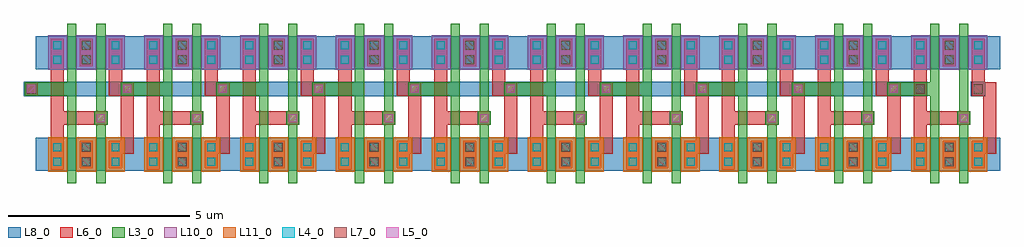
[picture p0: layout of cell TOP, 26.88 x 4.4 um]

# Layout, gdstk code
import gdstk
lib = gdstk.Library(unit=1e-6, precision=1e-09)
def R(c, l, rs):  # rectangles x0, y0, x1, y1
    for r in rs: c.add(gdstk.rectangle(r[:2], r[2:], *l))
def P(c, l, *ps):  # polygons
    for p in ps: c.add(gdstk.Polygon(p, *l))
L3_0 = (3, 0)
L4_0 = (4, 0)
L5_0 = (5, 0)
L6_0 = (6, 0)
L7_0 = (7, 0)
L8_0 = (8, 0)
L10_0 = (10, 0)
L11_0 = (11, 0)

trans = lib.new_cell('TRANS')

d_pmos = lib.new_cell('D$PMOS')

d_pmos_1 = lib.new_cell('D$PMOS$1')

d_nmos = lib.new_cell('D$NMOS')

d_nmos_1 = lib.new_cell('D$NMOS$1')

inv2 = lib.new_cell('INV2')
inv2.add(gdstk.Reference(trans, (-0.4,0)))
inv2.add(gdstk.Reference(trans, (-0.4,2.8)))
inv2.add(gdstk.Reference(trans, (0.4,0), x_reflection=True))
inv2.add(gdstk.Reference(trans, (0.4,2.8), x_reflection=True))
inv2.add(gdstk.Reference(d_pmos, (-0.4,2.8)))
inv2.add(gdstk.Reference(d_pmos_1, (0.4,2.8)))
inv2.add(gdstk.Reference(d_nmos, (-0.4,0)))
inv2.add(gdstk.Reference(d_nmos_1, (0.4,0)))

circuit_trans = lib.new_cell('CIRCUIT_TRANS')
R(circuit_trans, L3_0, [(-0.125,-0.8,0.125,0.8)])

circuit_trans_1 = lib.new_cell('CIRCUIT_TRANS$1')
R(circuit_trans_1, L4_0, [(-0.51,-0.31,-0.29,-0.09), (-0.51,0.09,-0.29,0.31)])
R(circuit_trans_1, L6_0, [(-0.58,-0.38,-0.22,0.38)])

circuit_inv2 = lib.new_cell('CIRCUIT_INV2')
R(circuit_inv2, L3_0, [(0.275,-0.25,0.525,2.25), (0.22,0.82,0.58,1.18)])
R(circuit_inv2, L5_0, [(0.29,0.89,0.51,1.11)])
R(circuit_inv2, L6_0, [(-0.98,-0.42,-0.62,2.42), (-0.8,0.82,0.58,1.18)])
R(circuit_inv2, L10_0, [(-1.05,2.325,-0.525,3.275)])
R(circuit_inv2, L11_0, [(-1.05,-0.475,-0.525,0.475)])
circuit_inv2.add(gdstk.Reference(circuit_trans, (0.4,2.8), x_reflection=True))
circuit_inv2.add(gdstk.Reference(circuit_trans, (0.4,0), x_reflection=True))
circuit_inv2.add(gdstk.Reference(circuit_trans_1, (-0.4,2.8)))
circuit_inv2.add(gdstk.Reference(circuit_trans_1, (-0.4,0)))

circuit_inv2_1 = lib.new_cell('CIRCUIT_INV2$1')
R(circuit_inv2_1, L3_0, [(-0.525,-0.25,-0.275,2.25), (-1.7,1.62,-0.4,1.98)])
R(circuit_inv2_1, L5_0, [(-1.63,1.69,-1.41,1.91)])
circuit_inv2_1.add(gdstk.Reference(circuit_trans, (-0.4,0)))
circuit_inv2_1.add(gdstk.Reference(circuit_trans, (-0.4,2.8)))

circuit_trans_2 = lib.new_cell('CIRCUIT_TRANS$2')
R(circuit_trans_2, L4_0, [(0.29,-0.31,0.51,-0.09), (0.29,0.09,0.51,0.31)])
R(circuit_trans_2, L6_0, [(0.22,-0.38,0.58,0.38)])

circuit_inv2_2 = lib.new_cell('CIRCUIT_INV2$2')
P(circuit_inv2_2, L6_0, [(0.8,0.02),(0.8,0.38),(0.94,0.38),(0.94,1.62),(0.62,1.62),(0.62,2.42),(0.98,2.42),(0.98,1.98),(1.3,1.98),(1.3,0.02)])
R(circuit_inv2_2, L10_0, [(0.525,2.325,1.05,3.275)])
R(circuit_inv2_2, L11_0, [(0.525,-0.475,1.05,0.475)])
circuit_inv2_2.add(gdstk.Reference(circuit_trans_2, (0.4,2.8), x_reflection=True))
circuit_inv2_2.add(gdstk.Reference(circuit_trans_2, (0.4,0), x_reflection=True))

circuit_trans_3 = lib.new_cell('CIRCUIT_TRANS$3')
R(circuit_trans_3, L4_0, [(0.29,-0.31,0.51,-0.09), (0.29,0.09,0.51,0.31)])
R(circuit_trans_3, L6_0, [(0.22,-0.38,0.58,0.38)])

circuit_trans_4 = lib.new_cell('CIRCUIT_TRANS$4')
R(circuit_trans_4, L4_0, [(-0.51,-0.31,-0.29,-0.09), (-0.51,0.09,-0.29,0.31)])
R(circuit_trans_4, L6_0, [(-0.58,-0.38,-0.22,0.38)])

circuit_inv2_3 = lib.new_cell('CIRCUIT_INV2$3')
R(circuit_inv2_3, L7_0, [(-0.125,-0.325,0.125,-0.075), (-0.125,0.075,0.125,0.325)])
R(circuit_inv2_3, L8_0, [(-1.4,-0.45,1.4,0.45)])
R(circuit_inv2_3, L11_0, [(-0.275,-0.475,0.275,0.475)])
circuit_inv2_3.add(gdstk.Reference(circuit_trans_3, (-0.4,0)))
circuit_inv2_3.add(gdstk.Reference(circuit_trans_4, (0.4,0), x_reflection=True))

circuit_trans_5 = lib.new_cell('CIRCUIT_TRANS$5')
R(circuit_trans_5, L4_0, [(-0.51,-0.31,-0.29,-0.09), (-0.51,0.09,-0.29,0.31)])
R(circuit_trans_5, L6_0, [(-0.58,-0.38,-0.22,0.38)])

circuit_trans_6 = lib.new_cell('CIRCUIT_TRANS$6')
R(circuit_trans_6, L4_0, [(0.29,-0.31,0.51,-0.09), (0.29,0.09,0.51,0.31)])
R(circuit_trans_6, L6_0, [(0.22,-0.38,0.58,0.38)])

circuit_inv2_4 = lib.new_cell('CIRCUIT_INV2$4')
R(circuit_inv2_4, L7_0, [(-0.125,2.475,0.125,2.725), (-0.125,2.875,0.125,3.125)])
R(circuit_inv2_4, L8_0, [(-1.4,2.35,1.4,3.25)])
R(circuit_inv2_4, L10_0, [(-0.275,2.325,0.275,3.275)])
circuit_inv2_4.add(gdstk.Reference(circuit_trans_5, (0.4,2.8), x_reflection=True))
circuit_inv2_4.add(gdstk.Reference(circuit_trans_6, (-0.4,2.8)))

circuit_trans_7 = lib.new_cell('CIRCUIT_TRANS$7')
R(circuit_trans_7, L3_0, [(-0.125,-0.8,0.125,0.8)])

circuit_trans_8 = lib.new_cell('CIRCUIT_TRANS$8')
R(circuit_trans_8, L4_0, [(-0.51,-0.31,-0.29,-0.09), (-0.51,0.09,-0.29,0.31)])
R(circuit_trans_8, L6_0, [(-0.58,-0.38,-0.22,0.38)])

circuit_inv2_5 = lib.new_cell('CIRCUIT_INV2$5')
R(circuit_inv2_5, L3_0, [(0.275,-0.25,0.525,2.25), (0.22,0.82,0.58,1.18)])
R(circuit_inv2_5, L5_0, [(0.29,0.89,0.51,1.11)])
R(circuit_inv2_5, L6_0, [(-0.98,-0.42,-0.62,2.42), (-0.8,0.82,0.58,1.18)])
R(circuit_inv2_5, L10_0, [(-1.05,2.325,-0.525,3.275)])
R(circuit_inv2_5, L11_0, [(-1.05,-0.475,-0.525,0.475)])
circuit_inv2_5.add(gdstk.Reference(circuit_trans_7, (0.4,2.8), x_reflection=True))
circuit_inv2_5.add(gdstk.Reference(circuit_trans_7, (0.4,0), x_reflection=True))
circuit_inv2_5.add(gdstk.Reference(circuit_trans_8, (-0.4,2.8)))
circuit_inv2_5.add(gdstk.Reference(circuit_trans_8, (-0.4,0)))

circuit_trans_9 = lib.new_cell('CIRCUIT_TRANS$9')
R(circuit_trans_9, L3_0, [(-0.125,-0.8,0.125,0.8)])

circuit_trans_10 = lib.new_cell('CIRCUIT_TRANS$10')
R(circuit_trans_10, L4_0, [(-0.51,-0.31,-0.29,-0.09), (-0.51,0.09,-0.29,0.31)])
R(circuit_trans_10, L6_0, [(-0.58,-0.38,-0.22,0.38)])

circuit_inv2_6 = lib.new_cell('CIRCUIT_INV2$6')
R(circuit_inv2_6, L3_0, [(0.275,-0.25,0.525,2.25), (0.22,0.82,0.58,1.18)])
R(circuit_inv2_6, L5_0, [(0.29,0.89,0.51,1.11)])
R(circuit_inv2_6, L6_0, [(-0.98,-0.42,-0.62,2.42), (-0.8,0.82,0.58,1.18)])
R(circuit_inv2_6, L10_0, [(-1.05,2.325,-0.525,3.275)])
R(circuit_inv2_6, L11_0, [(-1.05,-0.475,-0.525,0.475)])
circuit_inv2_6.add(gdstk.Reference(circuit_trans_9, (0.4,2.8), x_reflection=True))
circuit_inv2_6.add(gdstk.Reference(circuit_trans_9, (0.4,0), x_reflection=True))
circuit_inv2_6.add(gdstk.Reference(circuit_trans_10, (-0.4,2.8)))
circuit_inv2_6.add(gdstk.Reference(circuit_trans_10, (-0.4,0)))

circuit_trans_11 = lib.new_cell('CIRCUIT_TRANS$11')
R(circuit_trans_11, L3_0, [(-0.125,-0.8,0.125,0.8)])

circuit_trans_12 = lib.new_cell('CIRCUIT_TRANS$12')
R(circuit_trans_12, L4_0, [(-0.51,-0.31,-0.29,-0.09), (-0.51,0.09,-0.29,0.31)])
R(circuit_trans_12, L6_0, [(-0.58,-0.38,-0.22,0.38)])

circuit_inv2_7 = lib.new_cell('CIRCUIT_INV2$7')
R(circuit_inv2_7, L3_0, [(0.275,-0.25,0.525,2.25), (0.22,0.82,0.58,1.18)])
R(circuit_inv2_7, L5_0, [(0.29,0.89,0.51,1.11)])
R(circuit_inv2_7, L6_0, [(-0.98,-0.42,-0.62,2.42), (-0.8,0.82,0.58,1.18)])
R(circuit_inv2_7, L10_0, [(-1.05,2.325,-0.525,3.275)])
R(circuit_inv2_7, L11_0, [(-1.05,-0.475,-0.525,0.475)])
circuit_inv2_7.add(gdstk.Reference(circuit_trans_11, (0.4,2.8), x_reflection=True))
circuit_inv2_7.add(gdstk.Reference(circuit_trans_11, (0.4,0), x_reflection=True))
circuit_inv2_7.add(gdstk.Reference(circuit_trans_12, (-0.4,2.8)))
circuit_inv2_7.add(gdstk.Reference(circuit_trans_12, (-0.4,0)))

circuit_trans_13 = lib.new_cell('CIRCUIT_TRANS$13')
R(circuit_trans_13, L3_0, [(-0.125,-0.8,0.125,0.8)])

circuit_trans_14 = lib.new_cell('CIRCUIT_TRANS$14')
R(circuit_trans_14, L4_0, [(-0.51,-0.31,-0.29,-0.09), (-0.51,0.09,-0.29,0.31)])
R(circuit_trans_14, L6_0, [(-0.58,-0.38,-0.22,0.38)])

circuit_inv2_8 = lib.new_cell('CIRCUIT_INV2$8')
R(circuit_inv2_8, L3_0, [(0.275,-0.25,0.525,2.25), (0.22,0.82,0.58,1.18)])
R(circuit_inv2_8, L5_0, [(0.29,0.89,0.51,1.11)])
R(circuit_inv2_8, L6_0, [(-0.98,-0.42,-0.62,2.42), (-0.8,0.82,0.58,1.18)])
R(circuit_inv2_8, L10_0, [(-1.05,2.325,-0.525,3.275)])
R(circuit_inv2_8, L11_0, [(-1.05,-0.475,-0.525,0.475)])
circuit_inv2_8.add(gdstk.Reference(circuit_trans_13, (0.4,2.8), x_reflection=True))
circuit_inv2_8.add(gdstk.Reference(circuit_trans_13, (0.4,0), x_reflection=True))
circuit_inv2_8.add(gdstk.Reference(circuit_trans_14, (-0.4,2.8)))
circuit_inv2_8.add(gdstk.Reference(circuit_trans_14, (-0.4,0)))

circuit_trans_15 = lib.new_cell('CIRCUIT_TRANS$15')
R(circuit_trans_15, L3_0, [(-0.125,-0.8,0.125,0.8)])

circuit_trans_16 = lib.new_cell('CIRCUIT_TRANS$16')
R(circuit_trans_16, L4_0, [(-0.51,-0.31,-0.29,-0.09), (-0.51,0.09,-0.29,0.31)])
R(circuit_trans_16, L6_0, [(-0.58,-0.38,-0.22,0.38)])

circuit_inv2_9 = lib.new_cell('CIRCUIT_INV2$9')
R(circuit_inv2_9, L3_0, [(0.275,-0.25,0.525,2.25), (0.22,0.82,0.58,1.18)])
R(circuit_inv2_9, L5_0, [(0.29,0.89,0.51,1.11)])
R(circuit_inv2_9, L6_0, [(-0.98,-0.42,-0.62,2.42), (-0.8,0.82,0.58,1.18)])
R(circuit_inv2_9, L10_0, [(-1.05,2.325,-0.525,3.275)])
R(circuit_inv2_9, L11_0, [(-1.05,-0.475,-0.525,0.475)])
circuit_inv2_9.add(gdstk.Reference(circuit_trans_15, (0.4,2.8), x_reflection=True))
circuit_inv2_9.add(gdstk.Reference(circuit_trans_15, (0.4,0), x_reflection=True))
circuit_inv2_9.add(gdstk.Reference(circuit_trans_16, (-0.4,2.8)))
circuit_inv2_9.add(gdstk.Reference(circuit_trans_16, (-0.4,0)))

circuit_trans_17 = lib.new_cell('CIRCUIT_TRANS$17')
R(circuit_trans_17, L3_0, [(-0.125,-0.8,0.125,0.8)])

circuit_trans_18 = lib.new_cell('CIRCUIT_TRANS$18')
R(circuit_trans_18, L4_0, [(-0.51,-0.31,-0.29,-0.09), (-0.51,0.09,-0.29,0.31)])
R(circuit_trans_18, L6_0, [(-0.58,-0.38,-0.22,0.38)])

circuit_inv2_10 = lib.new_cell('CIRCUIT_INV2$10')
R(circuit_inv2_10, L3_0, [(0.275,-0.25,0.525,2.25), (0.22,0.82,0.58,1.18)])
R(circuit_inv2_10, L5_0, [(0.29,0.89,0.51,1.11)])
R(circuit_inv2_10, L6_0, [(-0.98,-0.42,-0.62,2.42), (-0.8,0.82,0.58,1.18)])
R(circuit_inv2_10, L10_0, [(-1.05,2.325,-0.525,3.275)])
R(circuit_inv2_10, L11_0, [(-1.05,-0.475,-0.525,0.475)])
circuit_inv2_10.add(gdstk.Reference(circuit_trans_17, (0.4,2.8), x_reflection=True))
circuit_inv2_10.add(gdstk.Reference(circuit_trans_17, (0.4,0), x_reflection=True))
circuit_inv2_10.add(gdstk.Reference(circuit_trans_18, (-0.4,2.8)))
circuit_inv2_10.add(gdstk.Reference(circuit_trans_18, (-0.4,0)))

circuit_trans_19 = lib.new_cell('CIRCUIT_TRANS$19')
R(circuit_trans_19, L3_0, [(-0.125,-0.8,0.125,0.8)])

circuit_trans_20 = lib.new_cell('CIRCUIT_TRANS$20')
R(circuit_trans_20, L4_0, [(-0.51,-0.31,-0.29,-0.09), (-0.51,0.09,-0.29,0.31)])
R(circuit_trans_20, L6_0, [(-0.58,-0.38,-0.22,0.38)])

circuit_inv2_11 = lib.new_cell('CIRCUIT_INV2$11')
R(circuit_inv2_11, L3_0, [(0.275,-0.25,0.525,2.25), (0.22,0.82,0.58,1.18)])
R(circuit_inv2_11, L5_0, [(0.29,0.89,0.51,1.11)])
R(circuit_inv2_11, L6_0, [(-0.98,-0.42,-0.62,2.42), (-0.8,0.82,0.58,1.18)])
R(circuit_inv2_11, L10_0, [(-1.05,2.325,-0.525,3.275)])
R(circuit_inv2_11, L11_0, [(-1.05,-0.475,-0.525,0.475)])
circuit_inv2_11.add(gdstk.Reference(circuit_trans_19, (0.4,2.8), x_reflection=True))
circuit_inv2_11.add(gdstk.Reference(circuit_trans_19, (0.4,0), x_reflection=True))
circuit_inv2_11.add(gdstk.Reference(circuit_trans_20, (-0.4,2.8)))
circuit_inv2_11.add(gdstk.Reference(circuit_trans_20, (-0.4,0)))

circuit_trans_21 = lib.new_cell('CIRCUIT_TRANS$21')
R(circuit_trans_21, L3_0, [(-0.125,-0.8,0.125,0.8)])

circuit_trans_22 = lib.new_cell('CIRCUIT_TRANS$22')
R(circuit_trans_22, L4_0, [(-0.51,-0.31,-0.29,-0.09), (-0.51,0.09,-0.29,0.31)])
R(circuit_trans_22, L6_0, [(-0.58,-0.38,-0.22,0.38)])

circuit_inv2_12 = lib.new_cell('CIRCUIT_INV2$12')
R(circuit_inv2_12, L3_0, [(0.275,-0.25,0.525,2.25), (0.22,0.82,0.58,1.18)])
R(circuit_inv2_12, L5_0, [(0.29,0.89,0.51,1.11)])
R(circuit_inv2_12, L6_0, [(-0.98,-0.42,-0.62,2.42), (-0.8,0.82,0.58,1.18)])
R(circuit_inv2_12, L10_0, [(-1.05,2.325,-0.525,3.275)])
R(circuit_inv2_12, L11_0, [(-1.05,-0.475,-0.525,0.475)])
circuit_inv2_12.add(gdstk.Reference(circuit_trans_21, (0.4,2.8), x_reflection=True))
circuit_inv2_12.add(gdstk.Reference(circuit_trans_21, (0.4,0), x_reflection=True))
circuit_inv2_12.add(gdstk.Reference(circuit_trans_22, (-0.4,2.8)))
circuit_inv2_12.add(gdstk.Reference(circuit_trans_22, (-0.4,0)))

circuit_trans_23 = lib.new_cell('CIRCUIT_TRANS$23')
R(circuit_trans_23, L3_0, [(-0.125,-0.8,0.125,0.8)])

circuit_trans_24 = lib.new_cell('CIRCUIT_TRANS$24')
R(circuit_trans_24, L4_0, [(-0.51,-0.31,-0.29,-0.09), (-0.51,0.09,-0.29,0.31)])
R(circuit_trans_24, L6_0, [(-0.58,-0.38,-0.22,0.38)])

circuit_inv2_13 = lib.new_cell('CIRCUIT_INV2$13')
R(circuit_inv2_13, L3_0, [(0.275,-0.25,0.525,2.25), (0.22,0.82,0.58,1.18)])
R(circuit_inv2_13, L5_0, [(0.29,0.89,0.51,1.11)])
R(circuit_inv2_13, L6_0, [(-0.98,-0.42,-0.62,2.42), (-0.8,0.82,0.58,1.18)])
R(circuit_inv2_13, L10_0, [(-1.05,2.325,-0.525,3.275)])
R(circuit_inv2_13, L11_0, [(-1.05,-0.475,-0.525,0.475)])
circuit_inv2_13.add(gdstk.Reference(circuit_trans_23, (0.4,2.8), x_reflection=True))
circuit_inv2_13.add(gdstk.Reference(circuit_trans_23, (0.4,0), x_reflection=True))
circuit_inv2_13.add(gdstk.Reference(circuit_trans_24, (-0.4,2.8)))
circuit_inv2_13.add(gdstk.Reference(circuit_trans_24, (-0.4,0)))

circuit_trans_25 = lib.new_cell('CIRCUIT_TRANS$25')
R(circuit_trans_25, L4_0, [(0.29,-0.31,0.51,-0.09), (0.29,0.09,0.51,0.31)])
R(circuit_trans_25, L6_0, [(0.22,-0.38,0.58,0.38)])

circuit_inv2_14 = lib.new_cell('CIRCUIT_INV2$14')
P(circuit_inv2_14, L6_0, [(0.8,0.02),(0.8,0.38),(0.94,0.38),(0.94,1.62),(0.62,1.62),(0.62,2.42),(0.98,2.42),(0.98,1.98),(1.3,1.98),(1.3,0.02)])
R(circuit_inv2_14, L10_0, [(0.525,2.325,1.05,3.275)])
R(circuit_inv2_14, L11_0, [(0.525,-0.475,1.05,0.475)])
circuit_inv2_14.add(gdstk.Reference(circuit_trans_25, (0.4,2.8), x_reflection=True))
circuit_inv2_14.add(gdstk.Reference(circuit_trans_25, (0.4,0), x_reflection=True))

circuit_trans_26 = lib.new_cell('CIRCUIT_TRANS$26')
R(circuit_trans_26, L3_0, [(-0.125,-0.8,0.125,0.8)])

circuit_inv2_15 = lib.new_cell('CIRCUIT_INV2$15')
R(circuit_inv2_15, L3_0, [(-0.525,-0.25,-0.275,2.25), (-1.7,1.62,-0.4,1.98)])
R(circuit_inv2_15, L5_0, [(-1.63,1.69,-1.41,1.91)])
circuit_inv2_15.add(gdstk.Reference(circuit_trans_26, (-0.4,0)))
circuit_inv2_15.add(gdstk.Reference(circuit_trans_26, (-0.4,2.8)))

circuit_trans_27 = lib.new_cell('CIRCUIT_TRANS$27')
R(circuit_trans_27, L3_0, [(-0.125,-0.8,0.125,0.8)])

circuit_inv2_16 = lib.new_cell('CIRCUIT_INV2$16')
R(circuit_inv2_16, L3_0, [(-0.525,-0.25,-0.275,2.25), (-1.7,1.62,-0.4,1.98)])
R(circuit_inv2_16, L5_0, [(-1.63,1.69,-1.41,1.91)])
circuit_inv2_16.add(gdstk.Reference(circuit_trans_27, (-0.4,0)))
circuit_inv2_16.add(gdstk.Reference(circuit_trans_27, (-0.4,2.8)))

circuit_trans_28 = lib.new_cell('CIRCUIT_TRANS$28')
R(circuit_trans_28, L4_0, [(0.29,-0.31,0.51,-0.09), (0.29,0.09,0.51,0.31)])
R(circuit_trans_28, L6_0, [(0.22,-0.38,0.58,0.38)])

circuit_inv2_17 = lib.new_cell('CIRCUIT_INV2$17')
P(circuit_inv2_17, L6_0, [(0.8,0.02),(0.8,0.38),(0.94,0.38),(0.94,1.62),(0.62,1.62),(0.62,2.42),(0.98,2.42),(0.98,1.98),(1.3,1.98),(1.3,0.02)])
R(circuit_inv2_17, L10_0, [(0.525,2.325,1.05,3.275)])
R(circuit_inv2_17, L11_0, [(0.525,-0.475,1.05,0.475)])
circuit_inv2_17.add(gdstk.Reference(circuit_trans_28, (0.4,2.8), x_reflection=True))
circuit_inv2_17.add(gdstk.Reference(circuit_trans_28, (0.4,0), x_reflection=True))

circuit_trans_29 = lib.new_cell('CIRCUIT_TRANS$29')
R(circuit_trans_29, L3_0, [(-0.125,-0.8,0.125,0.8)])

circuit_inv2_18 = lib.new_cell('CIRCUIT_INV2$18')
R(circuit_inv2_18, L3_0, [(-0.525,-0.25,-0.275,2.25), (-1.7,1.62,-0.4,1.98)])
R(circuit_inv2_18, L5_0, [(-1.63,1.69,-1.41,1.91)])
circuit_inv2_18.add(gdstk.Reference(circuit_trans_29, (-0.4,0)))
circuit_inv2_18.add(gdstk.Reference(circuit_trans_29, (-0.4,2.8)))

circuit_trans_30 = lib.new_cell('CIRCUIT_TRANS$30')
R(circuit_trans_30, L4_0, [(0.29,-0.31,0.51,-0.09), (0.29,0.09,0.51,0.31)])
R(circuit_trans_30, L6_0, [(0.22,-0.38,0.58,0.38)])

circuit_inv2_19 = lib.new_cell('CIRCUIT_INV2$19')
P(circuit_inv2_19, L6_0, [(0.8,0.02),(0.8,0.38),(0.94,0.38),(0.94,1.62),(0.62,1.62),(0.62,2.42),(0.98,2.42),(0.98,1.98),(1.3,1.98),(1.3,0.02)])
R(circuit_inv2_19, L10_0, [(0.525,2.325,1.05,3.275)])
R(circuit_inv2_19, L11_0, [(0.525,-0.475,1.05,0.475)])
circuit_inv2_19.add(gdstk.Reference(circuit_trans_30, (0.4,2.8), x_reflection=True))
circuit_inv2_19.add(gdstk.Reference(circuit_trans_30, (0.4,0), x_reflection=True))

circuit_trans_31 = lib.new_cell('CIRCUIT_TRANS$31')
R(circuit_trans_31, L3_0, [(-0.125,-0.8,0.125,0.8)])

circuit_inv2_20 = lib.new_cell('CIRCUIT_INV2$20')
R(circuit_inv2_20, L3_0, [(-0.525,-0.25,-0.275,2.25), (-1.7,1.62,-0.4,1.98)])
R(circuit_inv2_20, L5_0, [(-1.63,1.69,-1.41,1.91)])
circuit_inv2_20.add(gdstk.Reference(circuit_trans_31, (-0.4,0)))
circuit_inv2_20.add(gdstk.Reference(circuit_trans_31, (-0.4,2.8)))

circuit_trans_32 = lib.new_cell('CIRCUIT_TRANS$32')
R(circuit_trans_32, L4_0, [(0.29,-0.31,0.51,-0.09), (0.29,0.09,0.51,0.31)])
R(circuit_trans_32, L6_0, [(0.22,-0.38,0.58,0.38)])

circuit_inv2_21 = lib.new_cell('CIRCUIT_INV2$21')
P(circuit_inv2_21, L6_0, [(0.8,0.02),(0.8,0.38),(0.94,0.38),(0.94,1.62),(0.62,1.62),(0.62,2.42),(0.98,2.42),(0.98,1.98),(1.3,1.98),(1.3,0.02)])
R(circuit_inv2_21, L10_0, [(0.525,2.325,1.05,3.275)])
R(circuit_inv2_21, L11_0, [(0.525,-0.475,1.05,0.475)])
circuit_inv2_21.add(gdstk.Reference(circuit_trans_32, (0.4,2.8), x_reflection=True))
circuit_inv2_21.add(gdstk.Reference(circuit_trans_32, (0.4,0), x_reflection=True))

circuit_trans_33 = lib.new_cell('CIRCUIT_TRANS$33')
R(circuit_trans_33, L3_0, [(-0.125,-0.8,0.125,0.8)])

circuit_inv2_22 = lib.new_cell('CIRCUIT_INV2$22')
R(circuit_inv2_22, L3_0, [(-0.525,-0.25,-0.275,2.25), (-1.7,1.62,-0.4,1.98)])
R(circuit_inv2_22, L5_0, [(-1.63,1.69,-1.41,1.91)])
circuit_inv2_22.add(gdstk.Reference(circuit_trans_33, (-0.4,0)))
circuit_inv2_22.add(gdstk.Reference(circuit_trans_33, (-0.4,2.8)))

circuit_trans_34 = lib.new_cell('CIRCUIT_TRANS$34')
R(circuit_trans_34, L4_0, [(0.29,-0.31,0.51,-0.09), (0.29,0.09,0.51,0.31)])
R(circuit_trans_34, L6_0, [(0.22,-0.38,0.58,0.38)])

circuit_inv2_23 = lib.new_cell('CIRCUIT_INV2$23')
P(circuit_inv2_23, L6_0, [(0.8,0.02),(0.8,0.38),(0.94,0.38),(0.94,1.62),(0.62,1.62),(0.62,2.42),(0.98,2.42),(0.98,1.98),(1.3,1.98),(1.3,0.02)])
R(circuit_inv2_23, L10_0, [(0.525,2.325,1.05,3.275)])
R(circuit_inv2_23, L11_0, [(0.525,-0.475,1.05,0.475)])
circuit_inv2_23.add(gdstk.Reference(circuit_trans_34, (0.4,2.8), x_reflection=True))
circuit_inv2_23.add(gdstk.Reference(circuit_trans_34, (0.4,0), x_reflection=True))

circuit_trans_35 = lib.new_cell('CIRCUIT_TRANS$35')
R(circuit_trans_35, L3_0, [(-0.125,-0.8,0.125,0.8)])

circuit_inv2_24 = lib.new_cell('CIRCUIT_INV2$24')
R(circuit_inv2_24, L3_0, [(-0.525,-0.25,-0.275,2.25), (-1.7,1.62,-0.4,1.98)])
R(circuit_inv2_24, L5_0, [(-1.63,1.69,-1.41,1.91)])
circuit_inv2_24.add(gdstk.Reference(circuit_trans_35, (-0.4,0)))
circuit_inv2_24.add(gdstk.Reference(circuit_trans_35, (-0.4,2.8)))

circuit_trans_36 = lib.new_cell('CIRCUIT_TRANS$36')
R(circuit_trans_36, L4_0, [(0.29,-0.31,0.51,-0.09), (0.29,0.09,0.51,0.31)])
R(circuit_trans_36, L6_0, [(0.22,-0.38,0.58,0.38)])

circuit_inv2_25 = lib.new_cell('CIRCUIT_INV2$25')
P(circuit_inv2_25, L6_0, [(0.8,0.02),(0.8,0.38),(0.94,0.38),(0.94,1.62),(0.62,1.62),(0.62,2.42),(0.98,2.42),(0.98,1.98),(1.3,1.98),(1.3,0.02)])
R(circuit_inv2_25, L10_0, [(0.525,2.325,1.05,3.275)])
R(circuit_inv2_25, L11_0, [(0.525,-0.475,1.05,0.475)])
circuit_inv2_25.add(gdstk.Reference(circuit_trans_36, (0.4,2.8), x_reflection=True))
circuit_inv2_25.add(gdstk.Reference(circuit_trans_36, (0.4,0), x_reflection=True))

circuit_trans_37 = lib.new_cell('CIRCUIT_TRANS$37')
R(circuit_trans_37, L3_0, [(-0.125,-0.8,0.125,0.8)])

circuit_inv2_26 = lib.new_cell('CIRCUIT_INV2$26')
R(circuit_inv2_26, L3_0, [(-0.525,-0.25,-0.275,2.25), (-1.7,1.62,-0.4,1.98)])
R(circuit_inv2_26, L5_0, [(-1.63,1.69,-1.41,1.91)])
circuit_inv2_26.add(gdstk.Reference(circuit_trans_37, (-0.4,0)))
circuit_inv2_26.add(gdstk.Reference(circuit_trans_37, (-0.4,2.8)))

circuit_trans_38 = lib.new_cell('CIRCUIT_TRANS$38')
R(circuit_trans_38, L4_0, [(0.29,-0.31,0.51,-0.09), (0.29,0.09,0.51,0.31)])
R(circuit_trans_38, L6_0, [(0.22,-0.38,0.58,0.38)])

circuit_inv2_27 = lib.new_cell('CIRCUIT_INV2$27')
P(circuit_inv2_27, L6_0, [(0.8,0.02),(0.8,0.38),(0.94,0.38),(0.94,1.62),(0.62,1.62),(0.62,2.42),(0.98,2.42),(0.98,1.98),(1.3,1.98),(1.3,0.02)])
R(circuit_inv2_27, L10_0, [(0.525,2.325,1.05,3.275)])
R(circuit_inv2_27, L11_0, [(0.525,-0.475,1.05,0.475)])
circuit_inv2_27.add(gdstk.Reference(circuit_trans_38, (0.4,2.8), x_reflection=True))
circuit_inv2_27.add(gdstk.Reference(circuit_trans_38, (0.4,0), x_reflection=True))

circuit_trans_39 = lib.new_cell('CIRCUIT_TRANS$39')
R(circuit_trans_39, L3_0, [(-0.125,-0.8,0.125,0.8)])

circuit_inv2_28 = lib.new_cell('CIRCUIT_INV2$28')
R(circuit_inv2_28, L3_0, [(-0.525,-0.25,-0.275,2.25), (-1.7,1.62,-0.4,1.98)])
R(circuit_inv2_28, L5_0, [(-1.63,1.69,-1.41,1.91)])
circuit_inv2_28.add(gdstk.Reference(circuit_trans_39, (-0.4,0)))
circuit_inv2_28.add(gdstk.Reference(circuit_trans_39, (-0.4,2.8)))

circuit_trans_40 = lib.new_cell('CIRCUIT_TRANS$40')
R(circuit_trans_40, L4_0, [(0.29,-0.31,0.51,-0.09), (0.29,0.09,0.51,0.31)])
R(circuit_trans_40, L6_0, [(0.22,-0.38,0.58,0.38)])

circuit_inv2_29 = lib.new_cell('CIRCUIT_INV2$29')
P(circuit_inv2_29, L6_0, [(0.8,0.02),(0.8,0.38),(0.94,0.38),(0.94,1.62),(0.62,1.62),(0.62,2.42),(0.98,2.42),(0.98,1.98),(1.3,1.98),(1.3,0.02)])
R(circuit_inv2_29, L10_0, [(0.525,2.325,1.05,3.275)])
R(circuit_inv2_29, L11_0, [(0.525,-0.475,1.05,0.475)])
circuit_inv2_29.add(gdstk.Reference(circuit_trans_40, (0.4,2.8), x_reflection=True))
circuit_inv2_29.add(gdstk.Reference(circuit_trans_40, (0.4,0), x_reflection=True))

circuit_trans_41 = lib.new_cell('CIRCUIT_TRANS$41')
R(circuit_trans_41, L3_0, [(-0.125,-0.8,0.125,0.8)])

circuit_inv2_30 = lib.new_cell('CIRCUIT_INV2$30')
R(circuit_inv2_30, L3_0, [(-0.525,-0.25,-0.275,2.25), (-1.7,1.62,-0.4,1.98)])
R(circuit_inv2_30, L5_0, [(-1.63,1.69,-1.41,1.91)])
circuit_inv2_30.add(gdstk.Reference(circuit_trans_41, (-0.4,0)))
circuit_inv2_30.add(gdstk.Reference(circuit_trans_41, (-0.4,2.8)))

circuit_trans_42 = lib.new_cell('CIRCUIT_TRANS$42')
R(circuit_trans_42, L4_0, [(0.29,-0.31,0.51,-0.09), (0.29,0.09,0.51,0.31)])
R(circuit_trans_42, L6_0, [(0.22,-0.38,0.58,0.38)])

circuit_inv2_31 = lib.new_cell('CIRCUIT_INV2$31')
P(circuit_inv2_31, L6_0, [(0.8,0.02),(0.8,0.38),(0.94,0.38),(0.94,1.62),(0.62,1.62),(0.62,2.42),(0.98,2.42),(0.98,1.98),(1.3,1.98),(1.3,0.02)])
R(circuit_inv2_31, L10_0, [(0.525,2.325,1.05,3.275)])
R(circuit_inv2_31, L11_0, [(0.525,-0.475,1.05,0.475)])
circuit_inv2_31.add(gdstk.Reference(circuit_trans_42, (0.4,2.8), x_reflection=True))
circuit_inv2_31.add(gdstk.Reference(circuit_trans_42, (0.4,0), x_reflection=True))

top = lib.new_cell('TOP')
R(top, L6_0, [(-1.7,1.62,-1.34,1.98)])
R(top, L7_0, [(-1.645,1.675,-1.395,1.925), (22.835,1.675,23.085,1.925), (24.435,1.675,24.685,1.925)])
R(top, L8_0, [(-1.72,1.6,23.16,2), (24.36,1.6,24.76,2)])
top.add(gdstk.Reference(inv2, (0,0)))
top.add(gdstk.Reference(inv2, (2.64,0)))
top.add(gdstk.Reference(inv2, (5.28,0)))
top.add(gdstk.Reference(inv2, (7.92,0)))
top.add(gdstk.Reference(inv2, (10.56,0)))
top.add(gdstk.Reference(inv2, (13.2,0)))
top.add(gdstk.Reference(inv2, (15.84,0)))
top.add(gdstk.Reference(inv2, (18.48,0)))
top.add(gdstk.Reference(inv2, (21.12,0)))
top.add(gdstk.Reference(inv2, (23.76,0)))
top.add(gdstk.Reference(circuit_inv2, (23.76,0)))
top.add(gdstk.Reference(circuit_inv2_1, (0,0)))
top.add(gdstk.Reference(circuit_inv2_2, (23.76,0)))
top.add(gdstk.Reference(circuit_inv2_3, (23.76,0)))
top.add(gdstk.Reference(circuit_inv2_3, (21.12,0)))
top.add(gdstk.Reference(circuit_inv2_3, (18.48,0)))
top.add(gdstk.Reference(circuit_inv2_3, (15.84,0)))
top.add(gdstk.Reference(circuit_inv2_3, (13.2,0)))
top.add(gdstk.Reference(circuit_inv2_3, (10.56,0)))
top.add(gdstk.Reference(circuit_inv2_3, (7.92,0)))
top.add(gdstk.Reference(circuit_inv2_3, (5.28,0)))
top.add(gdstk.Reference(circuit_inv2_3, (2.64,0)))
top.add(gdstk.Reference(circuit_inv2_3, (0,0)))
top.add(gdstk.Reference(circuit_inv2_4, (23.76,0)))
top.add(gdstk.Reference(circuit_inv2_4, (21.12,0)))
top.add(gdstk.Reference(circuit_inv2_4, (18.48,0)))
top.add(gdstk.Reference(circuit_inv2_4, (15.84,0)))
top.add(gdstk.Reference(circuit_inv2_4, (13.2,0)))
top.add(gdstk.Reference(circuit_inv2_4, (10.56,0)))
top.add(gdstk.Reference(circuit_inv2_4, (7.92,0)))
top.add(gdstk.Reference(circuit_inv2_4, (5.28,0)))
top.add(gdstk.Reference(circuit_inv2_4, (2.64,0)))
top.add(gdstk.Reference(circuit_inv2_4, (0,0)))
top.add(gdstk.Reference(circuit_inv2_5, (21.12,0)))
top.add(gdstk.Reference(circuit_inv2_6, (18.48,0)))
top.add(gdstk.Reference(circuit_inv2_7, (15.84,0)))
top.add(gdstk.Reference(circuit_inv2_8, (13.2,0)))
top.add(gdstk.Reference(circuit_inv2_9, (10.56,0)))
top.add(gdstk.Reference(circuit_inv2_10, (7.92,0)))
top.add(gdstk.Reference(circuit_inv2_11, (5.28,0)))
top.add(gdstk.Reference(circuit_inv2_12, (2.64,0)))
top.add(gdstk.Reference(circuit_inv2_13, (0,0)))
top.add(gdstk.Reference(circuit_inv2_14, (0,0)))
top.add(gdstk.Reference(circuit_inv2_15, (2.64,0)))
top.add(gdstk.Reference(circuit_inv2_16, (23.76,0)))
top.add(gdstk.Reference(circuit_inv2_17, (21.12,0)))
top.add(gdstk.Reference(circuit_inv2_18, (21.12,0)))
top.add(gdstk.Reference(circuit_inv2_19, (18.48,0)))
top.add(gdstk.Reference(circuit_inv2_20, (18.48,0)))
top.add(gdstk.Reference(circuit_inv2_21, (15.84,0)))
top.add(gdstk.Reference(circuit_inv2_22, (15.84,0)))
top.add(gdstk.Reference(circuit_inv2_23, (13.2,0)))
top.add(gdstk.Reference(circuit_inv2_24, (13.2,0)))
top.add(gdstk.Reference(circuit_inv2_25, (10.56,0)))
top.add(gdstk.Reference(circuit_inv2_26, (10.56,0)))
top.add(gdstk.Reference(circuit_inv2_27, (7.92,0)))
top.add(gdstk.Reference(circuit_inv2_28, (7.92,0)))
top.add(gdstk.Reference(circuit_inv2_29, (5.28,0)))
top.add(gdstk.Reference(circuit_inv2_30, (5.28,0)))
top.add(gdstk.Reference(circuit_inv2_31, (2.64,0)))

lib.write_gds('TOP.gds')
